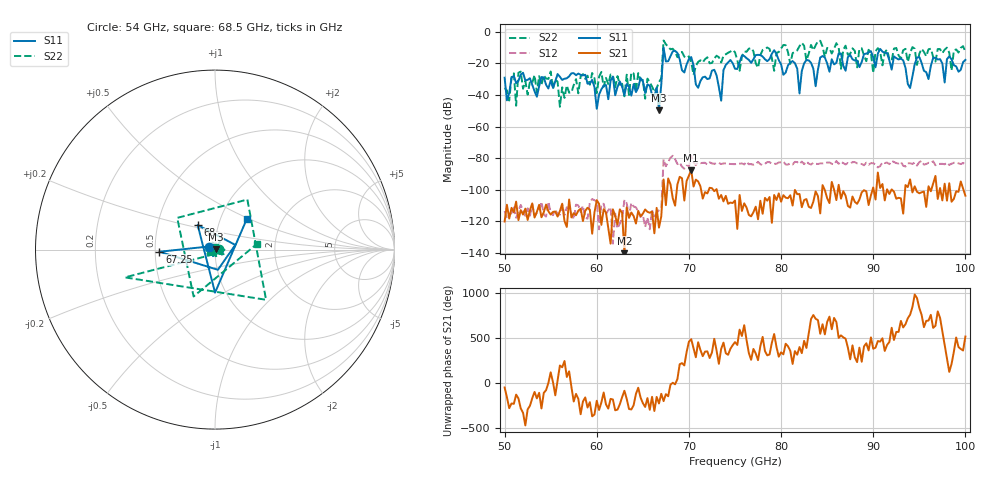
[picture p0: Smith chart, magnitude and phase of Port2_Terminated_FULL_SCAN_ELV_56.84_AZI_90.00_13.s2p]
! 11/25/2026 1:44:43 PM
! C:\ANRITSUVNA\TEMP\TEMP.S2P
! CHANNEL.1
! TR.MEASUREMENT
! RAW.DATA
# HZ S RI R 50.0
! FREQ.HZ  S11RE  S11IM  S21RE  S21IM  S12RE  S12IM  S22RE  S22IM
!; PortSelection: Port_12
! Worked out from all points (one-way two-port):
!   201 points, 50 GHz to 100 GHz, reference 50 ohm
!   highest |S21| = -87.58 dB at 70.25 GHz (marker M1); lowest = -140.0 dB at 63 GHz (marker M2)
!   lowest |S11| = -49.7 dB at 66.75 GHz (marker M3), VSWR 1.01, Z = 50.3 + j0.0704 ohm
!   |S11| at or under -10 dB: start of sweep to end of sweep
!   |S22| runs from -47.5 to -5.6 dB; largest |S21 - S12| = 0.00012
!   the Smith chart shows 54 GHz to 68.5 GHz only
!   S11 on the Smith chart (normalised r, x): 54 GHz: 0.93, +0.03; 67.25 GHz: 0.53, -0.01; 68 GHz: 0.80, +0.22; 68.5 GHz: 1.33, +0.49
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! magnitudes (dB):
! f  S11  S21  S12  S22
! 50 GHz  -29.1  -120.0  -113.5  -35.6
! 54 GHz  -28.7  -117.3  -107.5  -33.8
! 55 GHz  -30.9  -115.6  -114.4  -25.2
! 56 GHz  -28.6  -113.4  -115.8  -47.5
! 58.5 GHz  -27.7  -119.7  -110.1  -26.9
! 60 GHz  -48.8  -106.5  -107.4  -38.9
! 63 GHz  -40.1  -140.0  -106.3  -40.9
! 66.75 GHz  -49.7  -123.9  -112.9  -31.9
! 67.25 GHz  -10.2  -93.4  -80.7  -5.6
! 68 GHz  -15.5  -96.5  -79.7  -11.2
! 68.5 GHz  -12.1  -110.0  -80.6  -12.6
! 70.25 GHz  -16.1  -87.6  -78.4  -19.2
! 73.5 GHz  -43.6  -103.3  -83.7  -19.5
! 73.75 GHz  -24.3  -107.3  -83.3  -15.3
! 75 GHz  -23.5  -106.7  -83.8  -13.0
! 79.25 GHz  -11.8  -103.2  -83.6  -24.8
! 82 GHz  -39.1  -102.6  -83.7  -9.2
! 83.5 GHz  -23.4  -107.5  -82.9  -11.7
! 91.75 GHz  -18.2  -102.6  -83.8  -17.5
! 94 GHz  -35.7  -93.4  -83.2  -13.6
! 94.75 GHz  -16.5  -101.2  -84.6  -21.1
! 100 GHz  -17.9  -103.7  -84.0  -12.8
